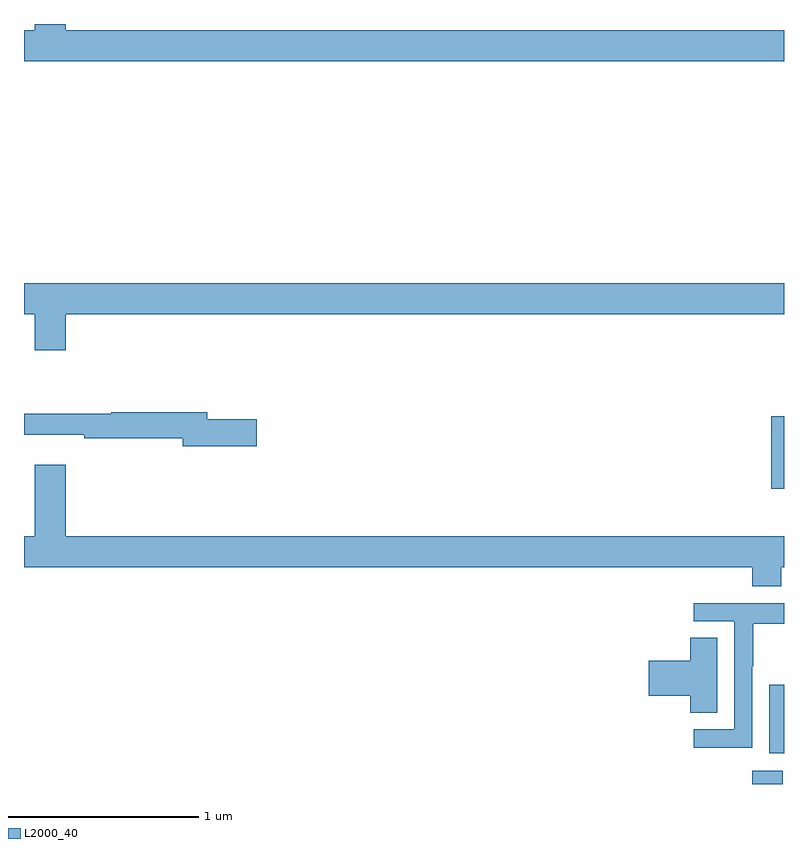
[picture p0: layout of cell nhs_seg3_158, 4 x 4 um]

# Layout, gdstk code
import gdstk
lib = gdstk.Library(unit=1e-6, precision=1e-09)
def R(c, l, rs):  # rectangles x0, y0, x1, y1
    for r in rs: c.add(gdstk.rectangle(r[:2], r[2:], *l))
def P(c, l, *ps):  # polygons
    for p in ps: c.add(gdstk.Polygon(p, *l))
L2000_40 = (2000, 40)

nhs_seg3_158 = lib.new_cell('nhs_seg3_158')
R(nhs_seg3_158, L2000_40, [(120.833,742.4,120.993,742.471), (120.923,742.562,121,742.923), (120.932,743.955,121,744.336)])
P(nhs_seg3_158, L2000_40, [(121,746.368),(117.22,746.368),(117.22,746.4),(117.056,746.4),(117.056,746.368),(117,746.368),(117,746.204),(121,746.204)],
  [(117.22,744.872),(121,744.872),(121,745.036),(117,745.036),(117,744.872),(117.056,744.872),(117.056,744.684),(117.22,744.684)],
  [(118.225,744.32),(117.964,744.32),(117.964,744.356),(117.46,744.356),(117.46,744.349),(117,744.349),(117,744.239),(117.316,744.239),(117.316,744.22),(117.836,744.22),(117.836,744.178),(118.225,744.178)],
  [(120.985,743.54),(121,743.54),(121,743.704),(117.22,743.704),(117.22,744.079),(117.056,744.079),(117.056,743.704),(117,743.704),(117,743.54),(120.833,743.54),(120.833,743.441),(120.985,743.441)],
  [(120.834,743.02),(120.837,743.02),(120.837,743.244),(121,743.244),(121,743.352),(120.525,743.352),(120.525,743.256),(120.738,743.256),(120.738,742.689),(120.525,742.689),(120.525,742.591),(120.834,742.591)],
  [(120.649,743.171),(120.506,743.171),(120.506,743.048),(120.288,743.048),(120.288,742.865),(120.506,742.865),(120.506,742.774),(120.649,742.774)])

lib.write_gds('nhs_seg3_158.gds')
